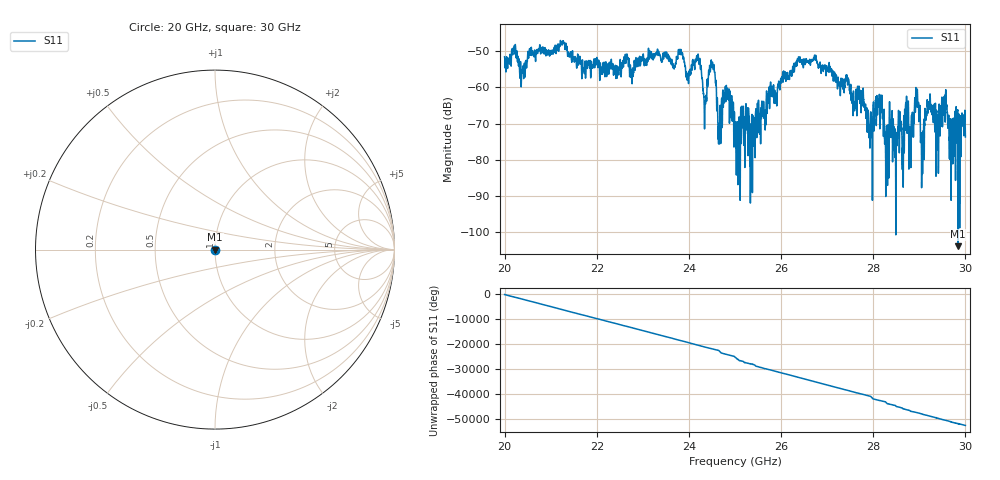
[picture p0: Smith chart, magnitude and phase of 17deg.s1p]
#  HZ  S  RI  R  50.00
! Rohde & Schwarz ZVA40 4Ports - Version 3.90 - 1145.1110k42 SN: 100403
! Date: 2023-10-03 10:26:42
! Measurement: S12
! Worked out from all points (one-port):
!   5001 points, 20 GHz to 30 GHz, reference 50 ohm
!   lowest |S11| = -103.8 dB at 29.84 GHz (marker M1), VSWR 1.00, Z = 50 + j0.00059 ohm
!   |S11| at or under -10 dB: start of sweep to end of sweep
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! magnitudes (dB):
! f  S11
! 20 GHz  -51.5
! 20.4 GHz  -55.8
! 21.25 GHz  -48.2
! 22.5 GHz  -54.7
! 23.75 GHz  -51.7
! 24.21 GHz  -53.2
! 24.34 GHz  -66.8
! 24.52 GHz  -53.7
! 24.65 GHz  -71.0
! 24.82 GHz  -63.0
! 25 GHz  -74.7
! 25.36 GHz  -72.7
! 26.25 GHz  -54.3
! 26.72 GHz  -51.5
! 27.5 GHz  -61.6
! 27.94 GHz  -68.7
! 28.15 GHz  -68.9
! 28.29 GHz  -73.6
! 28.75 GHz  -66.1
! 28.82 GHz  -70.9
! 28.97 GHz  -65.1
! 29.07 GHz  -83.9
! 29.2 GHz  -64.1
! 29.4 GHz  -67.9
! 29.56 GHz  -65.7
! 29.68 GHz  -72.4
! 29.84 GHz  -103.8
! 30 GHz  -73.7
